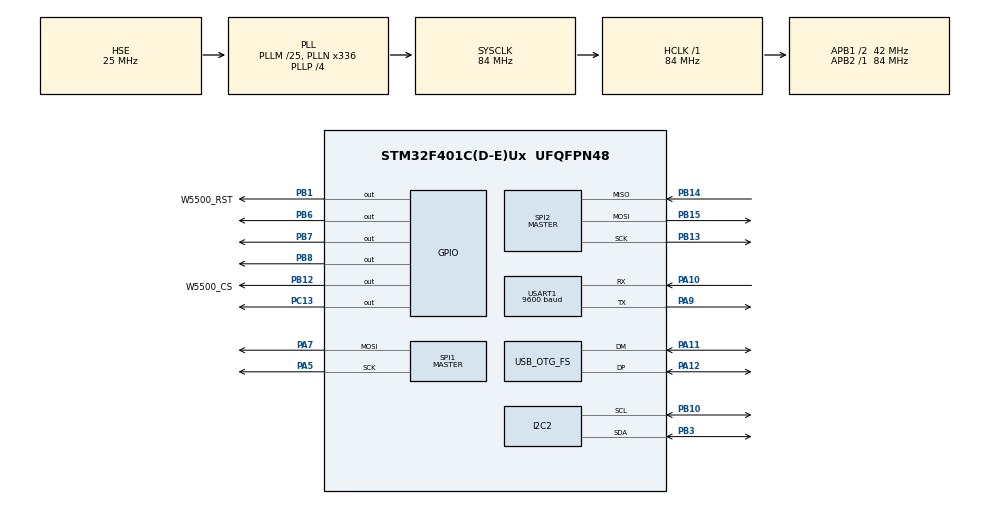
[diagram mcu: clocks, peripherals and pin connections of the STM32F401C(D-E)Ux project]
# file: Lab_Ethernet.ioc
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Dma.Request0=USART1_RX
Dma.Request1=SPI1_TX
Dma.SPI1_TX.1.Direction=DMA_MEMORY_TO_PERIPH
Dma.SPI1_TX.1.FIFOMode=DMA_FIFOMODE_DISABLE
Dma.SPI1_TX.1.Instance=DMA2_Stream3
Dma.SPI1_TX.1.MemDataAlignment=DMA_MDATAALIGN_BYTE
Dma.SPI1_TX.1.MemInc=DMA_MINC_ENABLE
Dma.SPI1_TX.1.Mode=DMA_NORMAL
Dma.SPI1_TX.1.PeriphDataAlignment=DMA_PDATAALIGN_BYTE
Dma.SPI1_TX.1.PeriphInc=DMA_PINC_DISABLE
Dma.SPI1_TX.1.Priority=DMA_PRIORITY_MEDIUM
Dma.USART1_RX.0.Direction=DMA_PERIPH_TO_MEMORY
Dma.USART1_RX.0.FIFOMode=DMA_FIFOMODE_DISABLE
Dma.USART1_RX.0.Instance=DMA2_Stream2
Dma.USART1_RX.0.MemDataAlignment=DMA_MDATAALIGN_BYTE
Dma.USART1_RX.0.MemInc=DMA_MINC_ENABLE
Dma.USART1_RX.0.Mode=DMA_CIRCULAR
Dma.USART1_RX.0.PeriphDataAlignment=DMA_PDATAALIGN_BYTE
Dma.USART1_RX.0.PeriphInc=DMA_PINC_DISABLE
Dma.USART1_RX.0.Priority=DMA_PRIORITY_LOW
Mcu.Family=STM32F4
Mcu.Name=STM32F401C(D-E)Ux
Mcu.Package=UFQFPN48
NVIC.DMA2_Stream2_IRQn=true\:1\:0\:true\:false\:true\:false\:true\:true
NVIC.DMA2_Stream3_IRQn=true\:2\:0\:true\:false\:true\:false\:true\:true
NVIC.OTG_FS_IRQn=true\:0\:0\:false\:false\:true\:false\:true\:true
NVIC.PriorityGroup=NVIC_PRIORITYGROUP_4
NVIC.USART1_IRQn=true\:0\:0\:false\:false\:true\:true\:true\:true
PA10.Mode=Asynchronous
PA10.Signal=USART1_RX
PA11.Mode=Device_Only
PA11.Signal=USB_OTG_FS_DM
PA12.Mode=Device_Only
PA12.Signal=USB_OTG_FS_DP
PA5.Mode=TX_Only_Simplex_Unidirect_Master
PA5.Signal=SPI1_SCK
PA7.Mode=TX_Only_Simplex_Unidirect_Master
PA7.Signal=SPI1_MOSI
PA9.Mode=Asynchronous
PA9.Signal=USART1_TX
PB1.GPIO_Label=W5500_RST
PB1.Signal=GPIO_Output
PB10.Mode=I2C
PB10.Signal=I2C2_SCL
PB12.GPIO_Label=W5500_CS
PB12.PinState=GPIO_PIN_SET
PB12.Signal=GPIO_Output
PB13.Mode=Full_Duplex_Master
PB13.Signal=SPI2_SCK
PB14.Mode=Full_Duplex_Master
PB14.Signal=SPI2_MISO
PB15.Mode=Full_Duplex_Master
PB15.Signal=SPI2_MOSI
PB3.Mode=I2C
PB3.Signal=I2C2_SDA
PB6.Signal=GPIO_Output
PB7.Signal=GPIO_Output
PB8.Signal=GPIO_Output
PC13-ANTI_TAMP.Signal=GPIO_Output
PH0\ -\ OSC_IN.Mode=HSE-External-Oscillator
PH0\ -\ OSC_IN.Signal=RCC_OSC_IN
PH1\ -\ OSC_OUT.Mode=HSE-External-Oscillator
PH1\ -\ OSC_OUT.Signal=RCC_OSC_OUT
ProjectManager.HeapSize=0x200
ProjectManager.StackSize=0x400
ProjectManager.TargetToolchain=STM32CubeIDE
RCC.48MHZClocksFreq_Value=48000000
RCC.AHBFreq_Value=84000000
RCC.APB1CLKDivider=RCC_HCLK_DIV2
RCC.APB1Freq_Value=42000000
RCC.APB1TimFreq_Value=84000000
RCC.APB2Freq_Value=84000000
RCC.APB2TimFreq_Value=84000000
RCC.CortexFreq_Value=84000000
RCC.HCLKFreq_Value=84000000
RCC.HSE_VALUE=25000000
RCC.HSI_VALUE=16000000
RCC.LSE_VALUE=32768
RCC.PLLM=25
RCC.PLLN=336
RCC.PLLP=RCC_PLLP_DIV4
RCC.PLLQ=7
RCC.SYSCLKFreq_VALUE=84000000
RCC.SYSCLKSource=RCC_SYSCLKSOURCE_PLLCLK
RCC.VCOOutputFreq_Value=336000000
SPI1.BaudRatePrescaler=SPI_BAUDRATEPRESCALER_8
SPI1.Direction=SPI_DIRECTION_2LINES
SPI1.Mode=SPI_MODE_MASTER
SPI1.VirtualType=VM_MASTER
SPI2.BaudRatePrescaler=SPI_BAUDRATEPRESCALER_4
SPI2.Direction=SPI_DIRECTION_2LINES
SPI2.Mode=SPI_MODE_MASTER
SPI2.VirtualType=VM_MASTER
USART1.BaudRate=9600
USART1.VirtualMode=VM_ASYNC
USB_DEVICE.CLASS_NAME_FS=CDC
USB_DEVICE.VirtualMode-CDC_FS=Cdc
USB_DEVICE.VirtualModeFS=Cdc_FS
USB_OTG_FS.VirtualMode=Device_Only
VP_USB_DEVICE_VS_USB_DEVICE_CDC_FS.Mode=CDC_FS
board=custom

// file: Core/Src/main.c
/* USER CODE BEGIN Header */
/**
 ******************************************************************************
 * @file           : main.c
 * @brief          : Main program body (NMEA Parser + Async CDC CLI)
 ******************************************************************************
 */
/* USER CODE END Header */
#include "main.h"
#include "usb_device.h"

/* USER CODE BEGIN Includes */
#include "utils/gps_parser.h"
#include "utils/gps_flash.h"
#include "utils/cli.h"
#include "utils/ili9341.h"
#include "utils/ui.h"
#include "utils/bme280.h"
#include "utils/tcs3472.h"
#include "utils/w5500_port.h"
#include "utils/net.h"
#include "utils/status.h"
#include "utils/http_server.h"
#include "utils/mdns.h"
#include <stdio.h>
#include <string.h>
#include <stdbool.h>
/* USER CODE END Includes */

/* USER CODE BEGIN PD */
#define I2C_SPEED_HZ 100000
/* USER CODE END PD */

I2C_HandleTypeDef hi2c2;

SPI_HandleTypeDef hspi1;
SPI_HandleTypeDef hspi2;
DMA_HandleTypeDef hdma_spi1_tx;

UART_HandleTypeDef huart1;
DMA_HandleTypeDef hdma_usart1_rx;

void SystemClock_Config(void);
static void MX_GPIO_Init(void);
static void MX_DMA_Init(void);
static void MX_USART1_UART_Init(void);
static void MX_SPI1_Init(void);
static void MX_I2C2_Init(void);
static void MX_SPI2_Init(void);

/* USER CODE BEGIN 0 */
uint16_t Get_System_UniqueID(void) {
    uint32_t* uid_base = (uint32_t*) 0x1FFF7A10;
    uint32_t id1 = uid_base[0];
    uint32_t id2 = uid_base[1];
    uint32_t id3 = uid_base[2];
    return (uint16_t) (id1 ^ id2 ^ id3);
}
/* USER CODE END 0 */

int main(void) {

    /* MCU Configuration--------------------------------------------------------*/

    /* Reset of all peripherals, Initializes the Flash interface and the Systick. */
    HAL_Init();

    /* Configure the system clock */
    SystemClock_Config();

    /* Initialize all configured peripherals */
    MX_GPIO_Init();
    MX_DMA_Init();
    MX_USART1_UART_Init();
    MX_USB_DEVICE_Init();
    MX_SPI1_Init();
    MX_I2C2_Init();
    MX_SPI2_Init();
    /* USER CODE BEGIN 2 */
    GPS_Flash_Load();
    GPS_Init(&huart1);

    ILI9341_Init(&hspi1);
    HAL_Delay(200);

    uint16_t node_id = Get_System_UniqueID();
    UI_Redraw(node_id);

    bmeSensorInitialized = BME280_Init(&hi2c2);

    colorSensorInitialized = TCS3472_Init(&hi2c2);

    Status_Init(node_id);
    NET_Init(W5500_Port_Init(&hspi2));
    HTTP_Init();
    MDNS_Init();

    HAL_Delay(500);
    const char* welcome_msg = "System Ready. Point 5.4 initialized.\r\n";
    USB_CDC_Send_Async((const uint8_t*) welcome_msg, strlen(welcome_msg));
    HAL_Delay(100);
    CDC_CLI_Flush();
    /* USER CODE END 2 */

    /* Infinite loop */
    while (1) {

        /* USER CODE BEGIN 3 */
        if (cli_test_colors_requested) {
            cli_test_colors_requested = false;
            ILI9341_TestColors(500);
            UI_Redraw(node_id);
        }

        if (cli_orientation_toggle_requested) {
            cli_orientation_toggle_requested = false;
            ili_orientation_t next = (ILI9341_GetOrientation() == ILI_PORTRAIT) ? ILI_LANDSCAPE : ILI_PORTRAIT;
            ILI9341_SetOrientation(next);
            UI_Redraw(node_id);
        }

        CLI_Process_Pending();

        char gps_line[GPS_LINE_BUF_SIZE];
        while (GPS_DequeueLine(gps_line, sizeof(gps_line))) {
            if (gps_raw_enabled) {
                if (strstr(gps_line, "RMC") || strstr(gps_line, "GGA") || strstr(gps_line, "GSA")) {
                    char raw_out[GPS_LINE_BUF_SIZE + 10];
                    snprintf(raw_out, sizeof(raw_out), "[LOG] %s\r\n", gps_line);
                    USB_CDC_Send_Async((const uint8_t*) raw_out, strlen(raw_out));
                }
            }

            Parse_NMEA_Sentence(gps_line);
        }

        uint32_t now = HAL_GetTick();
        if (gps_last_valid_fix.timestamp_ms > 0 && (now - gps_last_valid_fix.timestamp_ms > GPS_STALE_TIMEOUT_MS)) {
            gps_last_valid_fix.is_stale = 1;
        }

        BME280_Update_Stale();
        TCS3472_UpdateStale(&colorSensorData);

        static uint32_t sensor_last_tick = 0;
        if (now - sensor_last_tick >= 1000) {
            sensor_last_tick = now;

            if (bmeSensorInitialized) {
                BME280_Read_Real_Data(&hi2c2);
            } else {
                bmeSensorInitialized = BME280_Init(&hi2c2);
            }

            if (colorSensorInitialized) {
                TCS3472_ReadData(&hi2c2, &colorSensorData);
            } else {
                colorSensorInitialized = TCS3472_Init(&hi2c2);
            }

            NET_Tick1s();
        }

        Status_Update(now);
        NET_Process(now);
        MDNS_Process(now);
        HTTP_Process(now);

        UI_Update(now);

        GPS_Flash_Save_If_Due();

        HAL_GPIO_TogglePin(GPIOC, GPIO_PIN_13);
        HAL_Delay(50);
    }
    /* USER CODE END 3 */
}

void SystemClock_Config(void) {
    RCC_OscInitTypeDef RCC_OscInitStruct = {0};
    RCC_ClkInitTypeDef RCC_ClkInitStruct = {0};

    /** Configure the main internal regulator output voltage
     */
    __HAL_RCC_PWR_CLK_ENABLE();
    __HAL_PWR_VOLTAGESCALING_CONFIG(PWR_REGULATOR_VOLTAGE_SCALE2);

    /** Initializes the RCC Oscillators according to the specified parameters
     * in the RCC_OscInitTypeDef structure.
     */
    RCC_OscInitStruct.OscillatorType = RCC_OSCILLATORTYPE_HSE;
    RCC_OscInitStruct.HSEState = RCC_HSE_ON;
    RCC_OscInitStruct.PLL.PLLState = RCC_PLL_ON;
    RCC_OscInitStruct.PLL.PLLSource = RCC_PLLSOURCE_HSE;
    RCC_OscInitStruct.PLL.PLLM = 25;
    RCC_OscInitStruct.PLL.PLLN = 336;
    RCC_OscInitStruct.PLL.PLLP = RCC_PLLP_DIV4;
    RCC_OscInitStruct.PLL.PLLQ = 7;
    if (HAL_RCC_OscConfig(&RCC_OscInitStruct) != HAL_OK) { Error_Handler(); }

    /** Initializes the CPU, AHB and APB buses clocks
     */
    RCC_ClkInitStruct.ClockType = RCC_CLOCKTYPE_HCLK | RCC_CLOCKTYPE_SYSCLK | RCC_CLOCKTYPE_PCLK1 | RCC_CLOCKTYPE_PCLK2;
    RCC_ClkInitStruct.SYSCLKSource = RCC_SYSCLKSOURCE_PLLCLK;
    RCC_ClkInitStruct.AHBCLKDivider = RCC_SYSCLK_DIV1;
    RCC_ClkInitStruct.APB1CLKDivider = RCC_HCLK_DIV2;
    RCC_ClkInitStruct.APB2CLKDivider = RCC_HCLK_DIV1;

    if (HAL_RCC_ClockConfig(&RCC_ClkInitStruct, FLASH_LATENCY_2) != HAL_OK) { Error_Handler(); }
}

static void MX_I2C2_Init(void) {

    hi2c2.Instance = I2C2;
    hi2c2.Init.ClockSpeed = 100000;
    hi2c2.Init.DutyCycle = I2C_DUTYCYCLE_2;
    hi2c2.Init.OwnAddress1 = 0;
    hi2c2.Init.AddressingMode = I2C_ADDRESSINGMODE_7BIT;
    hi2c2.Init.DualAddressMode = I2C_DUALADDRESS_DISABLE;
    hi2c2.Init.OwnAddress2 = 0;
    hi2c2.Init.GeneralCallMode = I2C_GENERALCALL_DISABLE;
    hi2c2.Init.NoStretchMode = I2C_NOSTRETCH_DISABLE;
    if (HAL_I2C_Init(&hi2c2) != HAL_OK) { Error_Handler(); }
}

static void MX_SPI1_Init(void) {

    /* SPI1 parameter configuration*/
    hspi1.Instance = SPI1;
    hspi1.Init.Mode = SPI_MODE_MASTER;
    hspi1.Init.Direction = SPI_DIRECTION_2LINES;
    hspi1.Init.DataSize = SPI_DATASIZE_8BIT;
    hspi1.Init.CLKPolarity = SPI_POLARITY_LOW;
    hspi1.Init.CLKPhase = SPI_PHASE_1EDGE;
    hspi1.Init.NSS = SPI_NSS_SOFT;
    hspi1.Init.BaudRatePrescaler = SPI_BAUDRATEPRESCALER_8;
    hspi1.Init.FirstBit = SPI_FIRSTBIT_MSB;
    hspi1.Init.TIMode = SPI_TIMODE_DISABLE;
    hspi1.Init.CRCCalculation = SPI_CRCCALCULATION_DISABLE;
    hspi1.Init.CRCPolynomial = 10;
    if (HAL_SPI_Init(&hspi1) != HAL_OK) { Error_Handler(); }
}

static void MX_SPI2_Init(void) {

    /* SPI2 parameter configuration*/
    hspi2.Instance = SPI2;
    hspi2.Init.Mode = SPI_MODE_MASTER;
    hspi2.Init.Direction = SPI_DIRECTION_2LINES;
    hspi2.Init.DataSize = SPI_DATASIZE_8BIT;
    hspi2.Init.CLKPolarity = SPI_POLARITY_LOW;
    hspi2.Init.CLKPhase = SPI_PHASE_1EDGE;
    hspi2.Init.NSS = SPI_NSS_SOFT;
    hspi2.Init.BaudRatePrescaler = SPI_BAUDRATEPRESCALER_4;
    hspi2.Init.FirstBit = SPI_FIRSTBIT_MSB;
    hspi2.Init.TIMode = SPI_TIMODE_DISABLE;
    hspi2.Init.CRCCalculation = SPI_CRCCALCULATION_DISABLE;
    hspi2.Init.CRCPolynomial = 10;
    if (HAL_SPI_Init(&hspi2) != HAL_OK) { Error_Handler(); }
}

static void MX_USART1_UART_Init(void) {

    huart1.Instance = USART1;
    huart1.Init.BaudRate = 9600;
    huart1.Init.WordLength = UART_WORDLENGTH_8B;
    huart1.Init.StopBits = UART_STOPBITS_1;
    huart1.Init.Parity = UART_PARITY_NONE;
    huart1.Init.Mode = UART_MODE_TX_RX;
    huart1.Init.HwFlowCtl = UART_HWCONTROL_NONE;
    huart1.Init.OverSampling = UART_OVERSAMPLING_16;
    if (HAL_UART_Init(&huart1) != HAL_OK) { Error_Handler(); }
}

static void MX_DMA_Init(void) {

    /* DMA controller clock enable */
    __HAL_RCC_DMA2_CLK_ENABLE();

    /* DMA interrupt init */
    /* DMA2_Stream2_IRQn interrupt configuration */
    HAL_NVIC_SetPriority(DMA2_Stream2_IRQn, 1, 0);
    HAL_NVIC_EnableIRQ(DMA2_Stream2_IRQn);
    /* DMA2_Stream3_IRQn interrupt configuration */
    HAL_NVIC_SetPriority(DMA2_Stream3_IRQn, 2, 0);
    HAL_NVIC_EnableIRQ(DMA2_Stream3_IRQn);
}

static void MX_GPIO_Init(void) {
    GPIO_InitTypeDef GPIO_InitStruct = {0};

    /* GPIO Ports Clock Enable */
    __HAL_RCC_GPIOC_CLK_ENABLE();
    __HAL_RCC_GPIOH_CLK_ENABLE();
    __HAL_RCC_GPIOA_CLK_ENABLE();
    __HAL_RCC_GPIOB_CLK_ENABLE();

    /*Configure GPIO pin Output Level */
    HAL_GPIO_WritePin(GPIOC, GPIO_PIN_13, GPIO_PIN_RESET);

    /*Configure GPIO pin Output Level */
    HAL_GPIO_WritePin(GPIOB, W5500_RST_Pin | GPIO_PIN_6 | GPIO_PIN_7 | GPIO_PIN_8, GPIO_PIN_RESET);

    /*Configure GPIO pin Output Level */
    HAL_GPIO_WritePin(W5500_CS_GPIO_Port, W5500_CS_Pin, GPIO_PIN_SET);

    /*Configure GPIO pin : PC13 */
    GPIO_InitStruct.Pin = GPIO_PIN_13;
    GPIO_InitStruct.Mode = GPIO_MODE_OUTPUT_PP;
    GPIO_InitStruct.Pull = GPIO_NOPULL;
    GPIO_InitStruct.Speed = GPIO_SPEED_FREQ_LOW;
    HAL_GPIO_Init(GPIOC, &GPIO_InitStruct);

    /*Configure GPIO pins : W5500_RST_Pin W5500_CS_Pin PB6 PB7
                             PB8 */
    GPIO_InitStruct.Pin = W5500_RST_Pin | W5500_CS_Pin | GPIO_PIN_6 | GPIO_PIN_7 | GPIO_PIN_8;
    GPIO_InitStruct.Mode = GPIO_MODE_OUTPUT_PP;
    GPIO_InitStruct.Pull = GPIO_NOPULL;
    GPIO_InitStruct.Speed = GPIO_SPEED_FREQ_LOW;
    HAL_GPIO_Init(GPIOB, &GPIO_InitStruct);

}

void Error_Handler(void) {
    __disable_irq();
    while (1) {}
}
